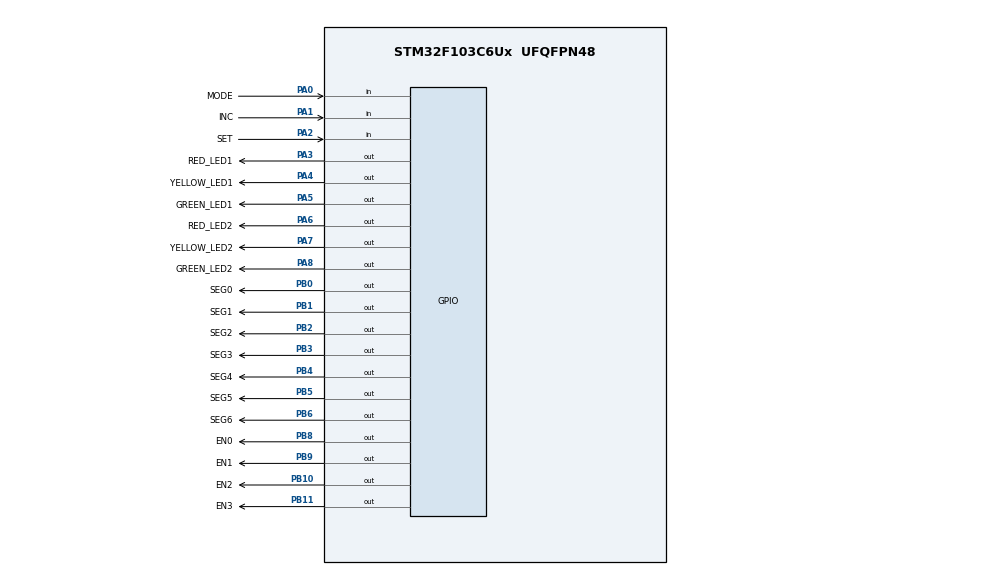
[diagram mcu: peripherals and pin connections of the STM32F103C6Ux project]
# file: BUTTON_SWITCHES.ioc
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Mcu.Family=STM32F1
Mcu.Name=STM32F103C6Ux
Mcu.Package=UFQFPN48
NVIC.PriorityGroup=NVIC_PRIORITYGROUP_4
NVIC.TIM2_IRQn=true\:0\:0\:false\:false\:true\:true\:true
PA0-WKUP.GPIO_Label=MODE
PA0-WKUP.Signal=GPIO_Input
PA1.GPIO_Label=INC
PA1.Signal=GPIO_Input
PA2.GPIO_Label=SET
PA2.Signal=GPIO_Input
PA3.GPIO_Label=RED_LED1
PA3.Signal=GPIO_Output
PA4.GPIO_Label=YELLOW_LED1
PA4.Signal=GPIO_Output
PA5.GPIO_Label=GREEN_LED1
PA5.Signal=GPIO_Output
PA6.GPIO_Label=RED_LED2
PA6.Signal=GPIO_Output
PA7.GPIO_Label=YELLOW_LED2
PA7.Signal=GPIO_Output
PA8.GPIO_Label=GREEN_LED2
PA8.Signal=GPIO_Output
PB0.GPIO_Label=SEG0
PB0.Signal=GPIO_Output
PB1.GPIO_Label=SEG1
PB1.Signal=GPIO_Output
PB10.GPIO_Label=EN2
PB10.Signal=GPIO_Output
PB11.GPIO_Label=EN3
PB11.Signal=GPIO_Output
PB2.GPIO_Label=SEG2
PB2.Signal=GPIO_Output
PB3.GPIO_Label=SEG3
PB3.Signal=GPIO_Output
PB4.GPIO_Label=SEG4
PB4.Signal=GPIO_Output
PB5.GPIO_Label=SEG5
PB5.Signal=GPIO_Output
PB6.GPIO_Label=SEG6
PB6.Signal=GPIO_Output
PB8.GPIO_Label=EN0
PB8.Signal=GPIO_Output
PB9.GPIO_Label=EN1
PB9.Signal=GPIO_Output
ProjectManager.HeapSize=0x200
ProjectManager.StackSize=0x400
ProjectManager.TargetToolchain=STM32CubeIDE
RCC.APB1Freq_Value=8000000
RCC.APB2Freq_Value=8000000
TIM2.Period=9
TIM2.Prescaler=7999
VP_SYS_VS_ND.Mode=No_Debug
VP_TIM2_VS_ClockSourceINT.Mode=Internal
board=custom

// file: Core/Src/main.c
/* USER CODE BEGIN Header */
/**
  ******************************************************************************
  * @file           : main.c
  * @brief          : Main program body
  ******************************************************************************
  * @attention
  *
  * <h2><center>&copy; Copyright (c) 2026 STMicroelectronics.
  * All rights reserved.</center></h2>
  *
  * This software component is licensed by ST under BSD 3-Clause license,
  * the "License"; You may not use this file except in compliance with the
  * License. You may obtain a copy of the License at:
  *                        opensource.org/licenses/BSD-3-Clause
  *
  ******************************************************************************
  */
/* USER CODE END Header */
#include "main.h"

/* USER CODE BEGIN Includes */
#include "output_display.h"
/* USER CODE END Includes */

TIM_HandleTypeDef htim2;

void SystemClock_Config(void);
static void MX_GPIO_Init(void);
static void MX_TIM2_Init(void);

int main(void)
{

  /* MCU Configuration--------------------------------------------------------*/

  /* Reset of all peripherals, Initializes the Flash interface and the Systick. */
  HAL_Init();

  /* Configure the system clock */
  SystemClock_Config();

  /* Initialize all configured peripherals */
  MX_GPIO_Init();
  MX_TIM2_Init();
  /* USER CODE BEGIN 2 */
  HAL_TIM_Base_Start_IT(&htim2);
  initTimers();

  led_timer_id = requestTimer();
  led_id = requestTimer();
  blink_timer_id = requestTimer();

  traffic_status = 0;
  countdown1 = time_red;
  countdown2 = time_green;

  if (led_timer_id != -1){
	  setTimer(led_timer_id, 100);
  }

  if (led_id != -1){
	  setTimer(led_id, 1000);
  }

  if (blink_timer_id != -1){
	  setTimer(blink_timer_id, 250);
  }

  updateLed();

  /* USER CODE END 2 */

  /* Infinite loop */
  /* USER CODE BEGIN WHILE */
  while (1)
  {
	  fsm_for_input_processing();

	  if (led_timer_id != -1 && timer_flags[led_timer_id] == 1){
		  setTimer(led_timer_id, 100);
		  update7SEG(led_state++);
		  if (led_state >= max){
			  led_state = 0;
		  }
	  }

	  if (blink_timer_id != -1 && timer_flags[blink_timer_id] == 1){
		  setTimer(blink_timer_id, 250);
		  blink_state = 1 - blink_state;

		  if (current_mode == 2){
			  HAL_GPIO_WritePin(GPIOA, YELLOW_LED1_Pin | YELLOW_LED2_Pin | GREEN_LED1_Pin | GREEN_LED2_Pin, GPIO_PIN_SET);
			  if (blink_state == 1) HAL_GPIO_WritePin(GPIOA, RED_LED1_Pin | RED_LED2_Pin, GPIO_PIN_RESET);
              else HAL_GPIO_WritePin(GPIOA, RED_LED1_Pin | RED_LED2_Pin, GPIO_PIN_SET);
		  } else if (current_mode == 3){
			  HAL_GPIO_WritePin(GPIOA, RED_LED1_Pin | RED_LED2_Pin | GREEN_LED1_Pin | GREEN_LED2_Pin, GPIO_PIN_SET);
			  if (blink_state == 1) HAL_GPIO_WritePin(GPIOA, YELLOW_LED1_Pin | YELLOW_LED2_Pin, GPIO_PIN_RESET);
              else HAL_GPIO_WritePin(GPIOA, YELLOW_LED1_Pin | YELLOW_LED2_Pin, GPIO_PIN_SET);
		  } else if (current_mode == 4){
			  HAL_GPIO_WritePin(GPIOA, RED_LED1_Pin | RED_LED2_Pin | YELLOW_LED1_Pin | YELLOW_LED2_Pin, GPIO_PIN_SET);
			  if (blink_state == 1) HAL_GPIO_WritePin(GPIOA, GREEN_LED1_Pin | GREEN_LED2_Pin, GPIO_PIN_RESET);
              else HAL_GPIO_WritePin(GPIOA, GREEN_LED1_Pin | GREEN_LED2_Pin, GPIO_PIN_SET);
		  }
	  }

	  if(current_mode == 1){
		  if (led_id != -1 && timer_flags[led_id] == 1){
			  setTimer(led_id, 1000);

			  countdown1--;
			  countdown2--;

			  if (countdown1 <= 0 || countdown2 <= 0) {
				  traffic_status = (traffic_status + 1) % 4;
				  updateLed();
			  }
			  updateLedBuffer();
		  }
	  }
    /* USER CODE END WHILE */

  }
}

void SystemClock_Config(void)
{
  RCC_OscInitTypeDef RCC_OscInitStruct = {0};
  RCC_ClkInitTypeDef RCC_ClkInitStruct = {0};

  /** Initializes the RCC Oscillators according to the specified parameters
  * in the RCC_OscInitTypeDef structure.
  */
  RCC_OscInitStruct.OscillatorType = RCC_OSCILLATORTYPE_HSI;
  RCC_OscInitStruct.HSIState = RCC_HSI_ON;
  RCC_OscInitStruct.HSICalibrationValue = RCC_HSICALIBRATION_DEFAULT;
  RCC_OscInitStruct.PLL.PLLState = RCC_PLL_NONE;
  if (HAL_RCC_OscConfig(&RCC_OscInitStruct) != HAL_OK)
  {
    Error_Handler();
  }
  /** Initializes the CPU, AHB and APB buses clocks
  */
  RCC_ClkInitStruct.ClockType = RCC_CLOCKTYPE_HCLK|RCC_CLOCKTYPE_SYSCLK
                              |RCC_CLOCKTYPE_PCLK1|RCC_CLOCKTYPE_PCLK2;
  RCC_ClkInitStruct.SYSCLKSource = RCC_SYSCLKSOURCE_HSI;
  RCC_ClkInitStruct.AHBCLKDivider = RCC_SYSCLK_DIV1;
  RCC_ClkInitStruct.APB1CLKDivider = RCC_HCLK_DIV1;
  RCC_ClkInitStruct.APB2CLKDivider = RCC_HCLK_DIV1;

  if (HAL_RCC_ClockConfig(&RCC_ClkInitStruct, FLASH_LATENCY_0) != HAL_OK)
  {
    Error_Handler();
  }
}

static void MX_TIM2_Init(void)
{

  TIM_ClockConfigTypeDef sClockSourceConfig = {0};
  TIM_MasterConfigTypeDef sMasterConfig = {0};

  htim2.Instance = TIM2;
  htim2.Init.Prescaler = 7999;
  htim2.Init.CounterMode = TIM_COUNTERMODE_UP;
  htim2.Init.Period = 9;
  htim2.Init.ClockDivision = TIM_CLOCKDIVISION_DIV1;
  htim2.Init.AutoReloadPreload = TIM_AUTORELOAD_PRELOAD_DISABLE;
  if (HAL_TIM_Base_Init(&htim2) != HAL_OK)
  {
    Error_Handler();
  }
  sClockSourceConfig.ClockSource = TIM_CLOCKSOURCE_INTERNAL;
  if (HAL_TIM_ConfigClockSource(&htim2, &sClockSourceConfig) != HAL_OK)
  {
    Error_Handler();
  }
  sMasterConfig.MasterOutputTrigger = TIM_TRGO_RESET;
  sMasterConfig.MasterSlaveMode = TIM_MASTERSLAVEMODE_DISABLE;
  if (HAL_TIMEx_MasterConfigSynchronization(&htim2, &sMasterConfig) != HAL_OK)
  {
    Error_Handler();
  }

}

static void MX_GPIO_Init(void)
{
  GPIO_InitTypeDef GPIO_InitStruct = {0};

  /* GPIO Ports Clock Enable */
  __HAL_RCC_GPIOA_CLK_ENABLE();
  __HAL_RCC_GPIOB_CLK_ENABLE();

  /*Configure GPIO pin Output Level */
  HAL_GPIO_WritePin(GPIOA, RED_LED1_Pin|YELLOW_LED1_Pin|GREEN_LED1_Pin|RED_LED2_Pin
                          |YELLOW_LED2_Pin|GREEN_LED2_Pin, GPIO_PIN_RESET);

  /*Configure GPIO pin Output Level */
  HAL_GPIO_WritePin(GPIOB, SEG0_Pin|SEG1_Pin|SEG2_Pin|EN2_Pin
                          |EN3_Pin|SEG3_Pin|SEG4_Pin|SEG5_Pin
                          |SEG6_Pin|EN0_Pin|EN1_Pin, GPIO_PIN_RESET);

  /*Configure GPIO pins : MODE_Pin INC_Pin SET_Pin */
  GPIO_InitStruct.Pin = MODE_Pin|INC_Pin|SET_Pin;
  GPIO_InitStruct.Mode = GPIO_MODE_INPUT;
  GPIO_InitStruct.Pull = GPIO_NOPULL;
  HAL_GPIO_Init(GPIOA, &GPIO_InitStruct);

  /*Configure GPIO pins : RED_LED1_Pin YELLOW_LED1_Pin GREEN_LED1_Pin RED_LED2_Pin
                           YELLOW_LED2_Pin GREEN_LED2_Pin */
  GPIO_InitStruct.Pin = RED_LED1_Pin|YELLOW_LED1_Pin|GREEN_LED1_Pin|RED_LED2_Pin
                          |YELLOW_LED2_Pin|GREEN_LED2_Pin;
  GPIO_InitStruct.Mode = GPIO_MODE_OUTPUT_PP;
  GPIO_InitStruct.Pull = GPIO_NOPULL;
  GPIO_InitStruct.Speed = GPIO_SPEED_FREQ_LOW;
  HAL_GPIO_Init(GPIOA, &GPIO_InitStruct);

  /*Configure GPIO pins : SEG0_Pin SEG1_Pin SEG2_Pin EN2_Pin
                           EN3_Pin SEG3_Pin SEG4_Pin SEG5_Pin
                           SEG6_Pin EN0_Pin EN1_Pin */
  GPIO_InitStruct.Pin = SEG0_Pin|SEG1_Pin|SEG2_Pin|EN2_Pin
                          |EN3_Pin|SEG3_Pin|SEG4_Pin|SEG5_Pin
                          |SEG6_Pin|EN0_Pin|EN1_Pin;
  GPIO_InitStruct.Mode = GPIO_MODE_OUTPUT_PP;
  GPIO_InitStruct.Pull = GPIO_NOPULL;
  GPIO_InitStruct.Speed = GPIO_SPEED_FREQ_LOW;
  HAL_GPIO_Init(GPIOB, &GPIO_InitStruct);

}

void Error_Handler(void)
{
  __disable_irq();
  while (1)
  {
  }
}

/************************ (C) COPYRIGHT STMicroelectronics *****END OF FILE****/
